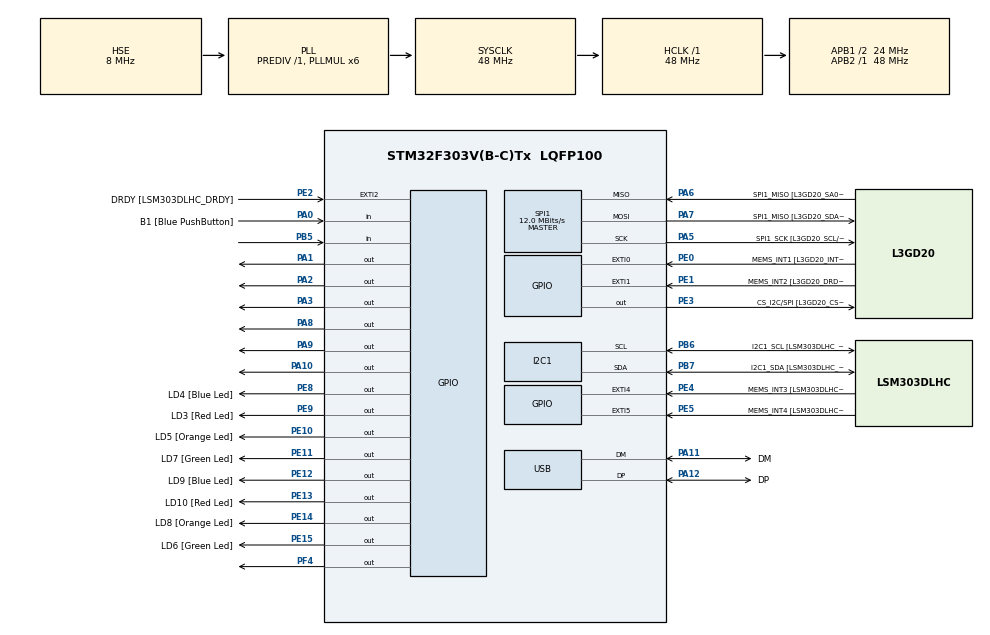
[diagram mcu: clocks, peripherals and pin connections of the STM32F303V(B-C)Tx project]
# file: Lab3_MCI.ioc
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I2C1.Timing=0x2000090E
I2C1.Timing-I2C=0x2000090E
Mcu.Family=STM32F3
Mcu.Name=STM32F303V(B-C)Tx
Mcu.Package=LQFP100
NVIC.PriorityGroup=NVIC_PRIORITYGROUP_0
PA0.GPIO_Label=B1 [Blue PushButton]
PA0.Signal=GPIO_Input
PA1.Signal=GPIO_Output
PA10.Signal=GPIO_Output
PA11.GPIO_Label=DM
PA11.Mode=Device
PA11.Signal=USB_DM
PA12.GPIO_Label=DP
PA12.Mode=Device
PA12.Signal=USB_DP
PA13.GPIO_Label=SWDIO
PA13.Mode=Serial_Wire
PA13.Signal=SYS_JTMS-SWDIO
PA14.GPIO_Label=SWCLK
PA14.Mode=Serial_Wire
PA14.Signal=SYS_JTCK-SWCLK
PA2.Signal=GPIO_Output
PA3.Signal=GPIO_Output
PA5.GPIO_Label=SPI1_SCK [L3GD20_SCL/SPC]
PA5.Mode=Full_Duplex_Master
PA5.Signal=SPI1_SCK
PA6.GPIO_Label=SPI1_MISO [L3GD20_SA0/SDO]
PA6.Mode=Full_Duplex_Master
PA6.Signal=SPI1_MISO
PA7.GPIO_Label=SPI1_MISO [L3GD20_SDA/SDI/SDO]
PA7.Mode=Full_Duplex_Master
PA7.Signal=SPI1_MOSI
PA8.Signal=GPIO_Output
PA9.Signal=GPIO_Output
PB3.GPIO_Label=SWO
PB3.Signal=SYS_JTDO-TRACESWO
PB5.GPIO_PuPd=GPIO_PULLDOWN
PB5.Signal=GPIO_Input
PB6.GPIO_Label=I2C1_SCL [LSM303DLHC_SCL]
PB6.GPIO_Pu=GPIO_PULLUP
PB6.Mode=I2C
PB6.Signal=I2C1_SCL
PB7.GPIO_Label=I2C1_SDA [LSM303DLHC_SDA]
PB7.GPIO_Pu=GPIO_PULLUP
PB7.Mode=I2C
PB7.Signal=I2C1_SDA
PC14-OSC32_IN.GPIO_Label=OSC32_IN
PC14-OSC32_IN.Signal=RCC_OSC32_IN
PC15-OSC32_OUT.GPIO_Label=OSC32_OUT
PC15-OSC32_OUT.Signal=RCC_OSC32_OUT
PE0.GPIO_Label=MEMS_INT1 [L3GD20_INT1]
PE0.GPIO_ModeDefaultEXTI=GPIO_MODE_EVT_RISING
PE0.Signal=GPXTI0
PE1.GPIO_Label=MEMS_INT2 [L3GD20_DRDY/INT2]
PE1.GPIO_ModeDefaultEXTI=GPIO_MODE_EVT_RISING
PE1.Signal=GPXTI1
PE10.GPIO_Label=LD5 [Orange Led]
PE10.Signal=GPIO_Output
PE11.GPIO_Label=LD7 [Green Led]
PE11.Signal=GPIO_Output
PE12.GPIO_Label=LD9 [Blue Led]
PE12.Signal=GPIO_Output
PE13.GPIO_Label=LD10 [Red Led]
PE13.Signal=GPIO_Output
PE14.GPIO_Label=LD8 [Orange Led]
PE14.Signal=GPIO_Output
PE15.GPIO_Label=LD6 [Green Led]
PE15.Signal=GPIO_Output
PE2.GPIO_Label=DRDY [LSM303DLHC_DRDY]
PE2.GPIO_ModeDefaultEXTI=GPIO_MODE_EVT_RISING
PE2.Signal=GPXTI2
PE3.GPIO_Label=CS_I2C/SPI [L3GD20_CS_I2C/SPI]
PE3.Signal=GPIO_Output
PE4.GPIO_Label=MEMS_INT3 [LSM303DLHC_INT1]
PE4.GPIO_ModeDefaultEXTI=GPIO_MODE_EVT_RISING
PE4.Signal=GPXTI4
PE5.GPIO_Label=MEMS_INT4 [LSM303DLHC_INT2]
PE5.GPIO_ModeDefaultEXTI=GPIO_MODE_EVT_RISING
PE5.Signal=GPXTI5
PE8.GPIO_Label=LD4 [Blue Led]
PE8.Signal=GPIO_Output
PE9.GPIO_Label=LD3 [Red Led]
PE9.Signal=GPIO_Output
PF0-OSC_IN.GPIO_Label=OSC_IN
PF0-OSC_IN.Mode=HSE-External-Clock-Source
PF0-OSC_IN.Signal=RCC_OSC_IN
PF1-OSC_OUT.GPIO_Label=OSC_OUT
PF1-OSC_OUT.Signal=RCC_OSC_OUT
PF4.Signal=GPIO_Output
ProjectManager.HeapSize=0x200
ProjectManager.StackSize=0x400
ProjectManager.TargetToolchain=CMake
RCC.AHBFreq_Value=48000000
RCC.APB1CLKDivider=RCC_HCLK_DIV2
RCC.APB1Freq_Value=24000000
RCC.APB1TimFreq_Value=48000000
RCC.APB2Freq_Value=48000000
RCC.APB2TimFreq_Value=48000000
RCC.CortexFreq_Value=48000000
RCC.HCLKFreq_Value=48000000
RCC.HSE_VALUE=8000000
RCC.HSI_VALUE=8000000
RCC.LSE_VALUE=32768
RCC.PLLMUL=RCC_PLL_MUL6
RCC.SYSCLKFreq_VALUE=48000000
RCC.SYSCLKSourceVirtual=RCC_SYSCLKSOURCE_PLLCLK
RCC.USBFreq_Value=48000000
SPI1.BaudRatePrescaler=SPI_BAUDRATEPRESCALER_4
SPI1.BaudRatePrescaler-Full_Duplex_Master=SPI_BAUDRATEPRESCALER_2
SPI1.CalculateBaudRate=12.0 MBits/s
SPI1.CalculateBaudRate-Full_Duplex_Master=24.0 MBits/s
SPI1.Direction=SPI_DIRECTION_2LINES
SPI1.Mode=SPI_MODE_MASTER
SPI1.Mode-Full_Duplex_Master=SPI_MODE_MASTER
SPI1.VirtualType=VM_MASTER
board=STM32F3DISCOVERY

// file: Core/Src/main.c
/* USER CODE BEGIN Header */
/**
  ******************************************************************************
  * @file           : main.c
  * @brief          : Main program body
  ******************************************************************************
  * @attention
  *
  * Copyright (c) 2025 STMicroelectronics.
  * All rights reserved.
  *
  * This software is licensed under terms that can be found in the LICENSE file
  * in the root directory of this software component.
  * If no LICENSE file comes with this software, it is provided AS-IS.
  *
  ******************************************************************************
  */
/* USER CODE END Header */
#include "main.h"
#include <stdlib.h>
#include <time.h>

I2C_HandleTypeDef hi2c1;

SPI_HandleTypeDef hspi1;

PCD_HandleTypeDef hpcd_USB_FS;

void SystemClock_Config(void);
static void MX_GPIO_Init(void);
static void MX_I2C1_Init(void);
static void MX_SPI1_Init(void);
static void MX_USB_PCD_Init(void);

/* USER CODE BEGIN 0 */

#define SEG_A GPIO_PIN_1
#define SEG_B GPIO_PIN_2
#define SEG_C GPIO_PIN_3
#define SEG_D GPIO_PIN_4
#define SEG_E GPIO_PIN_8
#define SEG_F GPIO_PIN_9
#define SEG_G GPIO_PIN_10
#define SEG_PORT GPIOA

// Lookup table for hex digits (0-F), common cathode style
uint8_t segment_map[16] = {
  0b0000001, // 0
  0b1011011, // 1
  0b0100010, // 2
  0b1000010, // 5
  0b1011000, // 4
  0b1000100, // 3
  0b0000100, // 6
  0b1010011, // 7
  0b0000000, // 8
  0b1000000, // 9
  0b0010000, // A
  0b0000000, // B
  0b0100101, // C
  0b0000001, // D
  0b0100100, // E
  0b0110100  // F
};

// Function to display one hex digit
void display_number(uint8_t num) {
    if (num > 15) return; // only 0-F

    uint8_t pattern = segment_map[num];

    HAL_GPIO_WritePin(SEG_PORT, SEG_A, (pattern & 0x01) ? GPIO_PIN_SET : GPIO_PIN_RESET);
    HAL_GPIO_WritePin(SEG_PORT, SEG_B, (pattern & 0x02) ? GPIO_PIN_SET : GPIO_PIN_RESET);
    HAL_GPIO_WritePin(SEG_PORT, SEG_C, (pattern & 0x04) ? GPIO_PIN_SET : GPIO_PIN_RESET);
    HAL_GPIO_WritePin(SEG_PORT, SEG_D, (pattern & 0x08) ? GPIO_PIN_SET : GPIO_PIN_RESET);
    HAL_GPIO_WritePin(SEG_PORT, SEG_E, (pattern & 0x10) ? GPIO_PIN_SET : GPIO_PIN_RESET);
    HAL_GPIO_WritePin(SEG_PORT, SEG_F, (pattern & 0x20) ? GPIO_PIN_SET : GPIO_PIN_RESET);
    HAL_GPIO_WritePin(SEG_PORT, SEG_G, (pattern & 0x40) ? GPIO_PIN_SET : GPIO_PIN_RESET);
}
 uint8_t studentID[] = {0,9,2,8,1};
 uint8_t idLength = 5;
 uint8_t currentIndex = 0;
 uint8_t buttonState = 0;
 uint8_t lastButtonState = 0;

uint8_t counter = 0;
uint8_t buttonStatePA0 = 0, lastButtonStatePA0 = 0;
uint8_t buttonStatePB5 = 0, lastButtonStatePB5 = 0;

/* USER CODE END 0 */

int main(void)
{

  /* MCU Configuration--------------------------------------------------------*/

  /* Reset of all peripherals, Initializes the Flash interface and the Systick. */
  HAL_Init();

  /* Configure the system clock */
  SystemClock_Config();

  /* Initialize all configured peripherals */
  MX_GPIO_Init();
  MX_I2C1_Init();
  MX_SPI1_Init();
  MX_USB_PCD_Init();

  /* Infinite loop */
   while (1)
   {

    /* USER CODE BEGIN 3 */
   }

  //TASK 2
   while (1)
 {
     // Read button
     buttonState = HAL_GPIO_ReadPin(GPIOA, GPIO_PIN_0);

     // Check if button changed from 0 -> 1 (rising edge)
     if (buttonState == GPIO_PIN_SET && lastButtonState == GPIO_PIN_RESET)
     {
         // Debounce delay
         HAL_Delay(50);

         // Check again after delay
         if (HAL_GPIO_ReadPin(GPIOA, GPIO_PIN_0) == GPIO_PIN_SET)
         {
             // Display digit
             display_number(studentID[currentIndex]);

             // Go to next digit
             currentIndex++;
             if (currentIndex >= idLength)
                 currentIndex = 0;  // Reset to first digit
         }
     }

     // Save button state for next loop
     lastButtonState = buttonState;
 }
  /* USER CODE END 3 */
  //TASK3
  // while (1)
  // {
  //   // --- Increment with USER button (PA0) ---
  //   buttonStatePA0 = HAL_GPIO_ReadPin(GPIOA, GPIO_PIN_0);
  //   if (buttonStatePA0 == GPIO_PIN_SET && lastButtonStatePA0 == GPIO_PIN_RESET)
  //   {
  //     HAL_Delay(50); // debounce
  //     if (HAL_GPIO_ReadPin(GPIOA, GPIO_PIN_0) == GPIO_PIN_SET)
  //     {
  //       counter++;
  //       if (counter > 15) counter = 0;   // wrap around
  //       display_number(counter);
  //     }
  //   }
  //   lastButtonStatePA0 = buttonStatePA0;

  //   // --- Decrement with external button (PB5) ---
  //   buttonStatePB5 = HAL_GPIO_ReadPin(GPIOB, GPIO_PIN_5);
  //   if (buttonStatePB5 == GPIO_PIN_SET && lastButtonStatePB5 == GPIO_PIN_RESET)
  //   {
  //     HAL_Delay(50); // debounce
  //     if (HAL_GPIO_ReadPin(GPIOB, GPIO_PIN_5) == GPIO_PIN_SET)
  //     {
  //       if (counter == 0) counter = 15;  // wrap around backwards
  //       else counter--;
  //       display_number(counter);
  //     }
  //   }
  //   lastButtonStatePB5 = buttonStatePB5;
  // }
  //TASK4
  srand(HAL_GetTick());  // seed RNG
  while (1)
    {
        // Check USER button (PA0)
        if (HAL_GPIO_ReadPin(GPIOA, GPIO_PIN_0) == GPIO_PIN_SET)
        {
            HAL_Delay(50); // debounce delay

            if (HAL_GPIO_ReadPin(GPIOA, GPIO_PIN_0) == GPIO_PIN_SET)
            {
                int num = (rand() % 6) + 1;  // random 1–6
                display_number(num);

                // wait until button released
                while (HAL_GPIO_ReadPin(GPIOA, GPIO_PIN_0) == GPIO_PIN_SET);
                HAL_Delay(50);  // debounce release
            }
        }
    }
}

void SystemClock_Config(void)
{
  RCC_OscInitTypeDef RCC_OscInitStruct = {0};
  RCC_ClkInitTypeDef RCC_ClkInitStruct = {0};
  RCC_PeriphCLKInitTypeDef PeriphClkInit = {0};

  /** Initializes the RCC Oscillators according to the specified parameters
  * in the RCC_OscInitTypeDef structure.
  */
  RCC_OscInitStruct.OscillatorType = RCC_OSCILLATORTYPE_HSI|RCC_OSCILLATORTYPE_HSE;
  RCC_OscInitStruct.HSEState = RCC_HSE_BYPASS;
  RCC_OscInitStruct.HSEPredivValue = RCC_HSE_PREDIV_DIV1;
  RCC_OscInitStruct.HSIState = RCC_HSI_ON;
  RCC_OscInitStruct.HSICalibrationValue = RCC_HSICALIBRATION_DEFAULT;
  RCC_OscInitStruct.PLL.PLLState = RCC_PLL_ON;
  RCC_OscInitStruct.PLL.PLLSource = RCC_PLLSOURCE_HSE;
  RCC_OscInitStruct.PLL.PLLMUL = RCC_PLL_MUL6;
  if (HAL_RCC_OscConfig(&RCC_OscInitStruct) != HAL_OK)
  {
    Error_Handler();
  }

  /** Initializes the CPU, AHB and APB buses clocks
  */
  RCC_ClkInitStruct.ClockType = RCC_CLOCKTYPE_HCLK|RCC_CLOCKTYPE_SYSCLK
                              |RCC_CLOCKTYPE_PCLK1|RCC_CLOCKTYPE_PCLK2;
  RCC_ClkInitStruct.SYSCLKSource = RCC_SYSCLKSOURCE_PLLCLK;
  RCC_ClkInitStruct.AHBCLKDivider = RCC_SYSCLK_DIV1;
  RCC_ClkInitStruct.APB1CLKDivider = RCC_HCLK_DIV2;
  RCC_ClkInitStruct.APB2CLKDivider = RCC_HCLK_DIV1;

  if (HAL_RCC_ClockConfig(&RCC_ClkInitStruct, FLASH_LATENCY_1) != HAL_OK)
  {
    Error_Handler();
  }
  PeriphClkInit.PeriphClockSelection = RCC_PERIPHCLK_USB|RCC_PERIPHCLK_I2C1;
  PeriphClkInit.I2c1ClockSelection = RCC_I2C1CLKSOURCE_HSI;
  PeriphClkInit.USBClockSelection = RCC_USBCLKSOURCE_PLL;
  if (HAL_RCCEx_PeriphCLKConfig(&PeriphClkInit) != HAL_OK)
  {
    Error_Handler();
  }
}

static void MX_I2C1_Init(void)
{

  hi2c1.Instance = I2C1;
  hi2c1.Init.Timing = 0x2000090E;
  hi2c1.Init.OwnAddress1 = 0;
  hi2c1.Init.AddressingMode = I2C_ADDRESSINGMODE_7BIT;
  hi2c1.Init.DualAddressMode = I2C_DUALADDRESS_DISABLE;
  hi2c1.Init.OwnAddress2 = 0;
  hi2c1.Init.OwnAddress2Masks = I2C_OA2_NOMASK;
  hi2c1.Init.GeneralCallMode = I2C_GENERALCALL_DISABLE;
  hi2c1.Init.NoStretchMode = I2C_NOSTRETCH_DISABLE;
  if (HAL_I2C_Init(&hi2c1) != HAL_OK)
  {
    Error_Handler();
  }

  /** Configure Analogue filter
  */
  if (HAL_I2CEx_ConfigAnalogFilter(&hi2c1, I2C_ANALOGFILTER_ENABLE) != HAL_OK)
  {
    Error_Handler();
  }

  /** Configure Digital filter
  */
  if (HAL_I2CEx_ConfigDigitalFilter(&hi2c1, 0) != HAL_OK)
  {
    Error_Handler();
  }

}

static void MX_SPI1_Init(void)
{

  /* SPI1 parameter configuration*/
  hspi1.Instance = SPI1;
  hspi1.Init.Mode = SPI_MODE_MASTER;
  hspi1.Init.Direction = SPI_DIRECTION_2LINES;
  hspi1.Init.DataSize = SPI_DATASIZE_4BIT;
  hspi1.Init.CLKPolarity = SPI_POLARITY_LOW;
  hspi1.Init.CLKPhase = SPI_PHASE_1EDGE;
  hspi1.Init.NSS = SPI_NSS_SOFT;
  hspi1.Init.BaudRatePrescaler = SPI_BAUDRATEPRESCALER_4;
  hspi1.Init.FirstBit = SPI_FIRSTBIT_MSB;
  hspi1.Init.TIMode = SPI_TIMODE_DISABLE;
  hspi1.Init.CRCCalculation = SPI_CRCCALCULATION_DISABLE;
  hspi1.Init.CRCPolynomial = 7;
  hspi1.Init.CRCLength = SPI_CRC_LENGTH_DATASIZE;
  hspi1.Init.NSSPMode = SPI_NSS_PULSE_ENABLE;
  if (HAL_SPI_Init(&hspi1) != HAL_OK)
  {
    Error_Handler();
  }

}

static void MX_USB_PCD_Init(void)
{

  hpcd_USB_FS.Instance = USB;
  hpcd_USB_FS.Init.dev_endpoints = 8;
  hpcd_USB_FS.Init.speed = PCD_SPEED_FULL;
  hpcd_USB_FS.Init.phy_itface = PCD_PHY_EMBEDDED;
  hpcd_USB_FS.Init.low_power_enable = DISABLE;
  hpcd_USB_FS.Init.battery_charging_enable = DISABLE;
  if (HAL_PCD_Init(&hpcd_USB_FS) != HAL_OK)
  {
    Error_Handler();
  }

}

static void MX_GPIO_Init(void)
{
  GPIO_InitTypeDef GPIO_InitStruct = {0};

  /* GPIO Ports Clock Enable */
  __HAL_RCC_GPIOE_CLK_ENABLE();
  __HAL_RCC_GPIOC_CLK_ENABLE();
  __HAL_RCC_GPIOF_CLK_ENABLE();
  __HAL_RCC_GPIOA_CLK_ENABLE();
  __HAL_RCC_GPIOB_CLK_ENABLE();

  /*Configure GPIO pin Output Level */
  HAL_GPIO_WritePin(GPIOE, CS_I2C_SPI_Pin|LD4_Pin|LD3_Pin|LD5_Pin
                          |LD7_Pin|LD9_Pin|LD10_Pin|LD8_Pin
                          |LD6_Pin, GPIO_PIN_RESET);

  /*Configure GPIO pin Output Level */
  HAL_GPIO_WritePin(GPIOA, GPIO_PIN_1|GPIO_PIN_2|GPIO_PIN_3|GPIO_PIN_8
                          |GPIO_PIN_9|GPIO_PIN_10, GPIO_PIN_RESET);

  /*Configure GPIO pin Output Level */
  HAL_GPIO_WritePin(GPIOF, GPIO_PIN_4, GPIO_PIN_RESET);

  /*Configure GPIO pins : DRDY_Pin MEMS_INT3_Pin MEMS_INT4_Pin MEMS_INT1_Pin
                           MEMS_INT2_Pin */
  GPIO_InitStruct.Pin = DRDY_Pin|MEMS_INT3_Pin|MEMS_INT4_Pin|MEMS_INT1_Pin
                          |MEMS_INT2_Pin;
  GPIO_InitStruct.Mode = GPIO_MODE_EVT_RISING;
  GPIO_InitStruct.Pull = GPIO_NOPULL;
  HAL_GPIO_Init(GPIOE, &GPIO_InitStruct);

  /*Configure GPIO pins : CS_I2C_SPI_Pin LD4_Pin LD3_Pin LD5_Pin
                           LD7_Pin LD9_Pin LD10_Pin LD8_Pin
                           LD6_Pin */
  GPIO_InitStruct.Pin = CS_I2C_SPI_Pin|LD4_Pin|LD3_Pin|LD5_Pin
                          |LD7_Pin|LD9_Pin|LD10_Pin|LD8_Pin
                          |LD6_Pin;
  GPIO_InitStruct.Mode = GPIO_MODE_OUTPUT_PP;
  GPIO_InitStruct.Pull = GPIO_NOPULL;
  GPIO_InitStruct.Speed = GPIO_SPEED_FREQ_LOW;
  HAL_GPIO_Init(GPIOE, &GPIO_InitStruct);

  /*Configure GPIO pin : B1_Pin */
  GPIO_InitStruct.Pin = B1_Pin;
  GPIO_InitStruct.Mode = GPIO_MODE_INPUT;
  GPIO_InitStruct.Pull = GPIO_NOPULL;
  HAL_GPIO_Init(B1_GPIO_Port, &GPIO_InitStruct);

  /*Configure GPIO pins : PA1 PA2 PA3 PA8
                           PA9 PA10 */
  GPIO_InitStruct.Pin = GPIO_PIN_1|GPIO_PIN_2|GPIO_PIN_3|GPIO_PIN_8
                          |GPIO_PIN_9|GPIO_PIN_10;
  GPIO_InitStruct.Mode = GPIO_MODE_OUTPUT_PP;
  GPIO_InitStruct.Pull = GPIO_NOPULL;
  GPIO_InitStruct.Speed = GPIO_SPEED_FREQ_LOW;
  HAL_GPIO_Init(GPIOA, &GPIO_InitStruct);

  /*Configure GPIO pin : PF4 */
  GPIO_InitStruct.Pin = GPIO_PIN_4;
  GPIO_InitStruct.Mode = GPIO_MODE_OUTPUT_PP;
  GPIO_InitStruct.Pull = GPIO_NOPULL;
  GPIO_InitStruct.Speed = GPIO_SPEED_FREQ_LOW;
  HAL_GPIO_Init(GPIOF, &GPIO_InitStruct);

  /*Configure GPIO pin : PB5 */
  GPIO_InitStruct.Pin = GPIO_PIN_5;
  GPIO_InitStruct.Mode = GPIO_MODE_INPUT;
  GPIO_InitStruct.Pull = GPIO_PULLDOWN;
  HAL_GPIO_Init(GPIOB, &GPIO_InitStruct);

}

void Error_Handler(void)
{
  __disable_irq();
  while (1)
  {
  }
}
